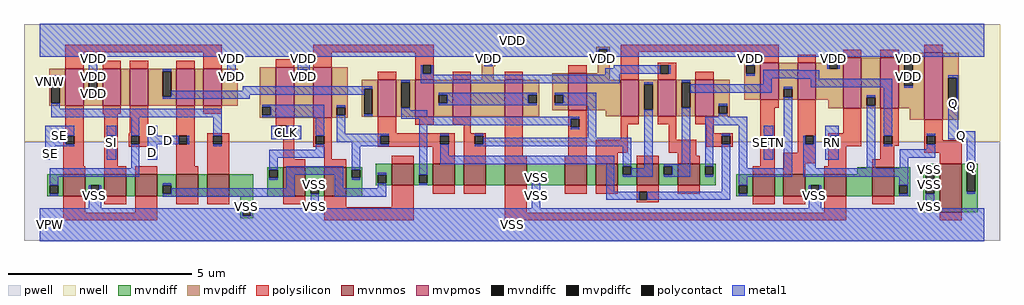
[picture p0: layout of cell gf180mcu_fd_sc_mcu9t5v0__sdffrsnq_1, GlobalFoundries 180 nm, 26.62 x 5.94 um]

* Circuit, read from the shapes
.subckt gf180mcu_fd_sc_mcu9t5v0__sdffrsnq_1 D RN SE SETN SI CLK Q VDD VNW VPW VSS
XM1 VSS SE n1 VPW nfet_06v0 w=0.59u l=0.6u
XM2 n2 SI VSS VPW nfet_06v0 w=0.59u l=0.6u
XM3 n3 SE n2 VPW nfet_06v0 w=0.59u l=0.6u
XM4 n4 D n3 VPW nfet_06v0 w=0.59u l=0.6u
XM5 VSS n1 n4 VPW nfet_06v0 w=0.59u l=0.6u
XM6 VSS CLK n5 VPW nfet_06v0 w=0.79u l=0.6u
XM7 n6 n5 VSS VPW nfet_06v0 w=0.79u l=0.6u
XM8 n7 n5 n3 VPW nfet_06v0 w=0.59u l=0.6u
XM9 n8 n6 n7 VPW nfet_06v0 w=0.59u l=0.6u
XM10 n9 n10 n8 VPW nfet_06v0 w=0.59u l=0.6u
XM11 VSS RN n9 VPW nfet_06v0 w=0.59u l=0.6u
XM12 n11 n7 VSS VPW nfet_06v0 w=0.59u l=0.6u
XM13 n10 SETN n11 VPW nfet_06v0 w=0.59u l=0.6u
XM14 n12 n6 n10 VPW nfet_06v0 w=0.59u l=0.6u
XM15 n13 n5 n12 VPW nfet_06v0 w=0.59u l=0.6u
XM16 n14 SETN n13 VPW nfet_06v0 w=0.59u l=0.6u
XM17 VSS n15 n14 VPW nfet_06v0 w=0.59u l=0.6u
XM18 n16 RN VSS VPW nfet_06v0 w=0.59u l=0.6u
XM19 n15 n12 n16 VPW nfet_06v0 w=0.79u l=0.6u
XM20 Q n15 VSS VPW nfet_06v0 w=1.32u l=0.6u
XM21 VDD SE n1 VNW pfet_06v0 w=1u l=0.5u
XM22 n17 SI VDD VNW pfet_06v0 w=1u l=0.5u
XM23 n18 n1 n17 VNW pfet_06v0 w=1u l=0.5u
XM24 n19 D n18 VNW pfet_06v0 w=1u l=0.5u
XM25 VDD SE n19 VNW pfet_06v0 w=1u l=0.5u
XM26 VDD CLK n5 VNW pfet_06v0 w=1.38u l=0.5u
XM27 n6 n5 VDD VNW pfet_06v0 w=1.38u l=0.5u
XM28 n7 n6 n18 VNW pfet_06v0 w=1u l=0.5u
XM29 n20 n5 n7 VNW pfet_06v0 w=1u l=0.5u
XM30 VDD n10 n20 VNW pfet_06v0 w=1u l=0.5u
XM31 n20 RN VDD VNW pfet_06v0 w=1u l=0.5u
XM32 VDD n7 n10 VNW pfet_06v0 w=1u l=0.5u
XM33 n10 SETN VDD VNW pfet_06v0 w=1u l=0.5u
XM34 n12 n5 n10 VNW pfet_06v0 w=1u l=0.5u
XM35 n13 n6 n12 VNW pfet_06v0 w=1u l=0.5u
XM36 n13 SETN VDD VNW pfet_06v0 w=1u l=0.5u
XM37 VDD n15 n13 VNW pfet_06v0 w=1u l=0.5u
XM38 n15 RN VDD VNW pfet_06v0 w=1.38u l=0.5u
XM39 VDD n12 n15 VNW pfet_06v0 w=1.38u l=0.5u
XM40 Q n15 VDD VNW pfet_06v0 w=1.83u l=0.5u
.ends

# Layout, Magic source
magic
tech gf180mcuD
magscale 1 10
<< nwell >>
rect -86 453 5238 1094
<< pwell >>
rect -86 -86 5238 453
<< mvnmos >>
rect 129 157 249 275
rect 353 157 473 275
rect 521 157 641 275
rect 745 157 865 275
rect 913 157 1033 275
rect 1328 157 1448 315
rect 1552 157 1672 315
rect 1920 215 2040 333
rect 2144 215 2264 333
rect 2312 215 2432 333
rect 2536 215 2656 333
rect 2864 215 2984 333
rect 3032 215 3152 333
rect 3256 215 3376 333
rect 3480 215 3600 333
rect 3888 157 4008 275
rect 4056 157 4176 275
rect 4280 157 4400 275
rect 4540 157 4660 315
rect 4908 69 5028 333
<< mvpmos >>
rect 139 651 239 851
rect 343 651 443 851
rect 491 651 591 851
rect 745 651 845 851
rect 893 651 993 851
rect 1288 584 1388 860
rect 1492 584 1592 860
rect 1844 591 1944 791
rect 2048 591 2148 791
rect 2252 591 2352 791
rect 2536 591 2636 791
rect 2884 626 2984 826
rect 3168 592 3268 792
rect 3372 592 3472 792
rect 3576 592 3676 792
rect 3930 684 4030 884
rect 4134 684 4234 884
rect 4382 636 4482 912
rect 4586 636 4686 912
rect 4826 573 4926 939
<< mvndiff >>
rect 1240 302 1328 315
rect 41 216 129 275
rect 41 170 54 216
rect 100 170 129 216
rect 41 157 129 170
rect 249 216 353 275
rect 249 170 278 216
rect 324 170 353 216
rect 249 157 353 170
rect 473 157 521 275
rect 641 216 745 275
rect 641 170 670 216
rect 716 170 745 216
rect 641 157 745 170
rect 865 157 913 275
rect 1033 157 1165 275
rect 1240 256 1253 302
rect 1299 256 1328 302
rect 1240 157 1328 256
rect 1448 216 1552 315
rect 1448 170 1477 216
rect 1523 170 1552 216
rect 1448 157 1552 170
rect 1672 302 1760 315
rect 1672 256 1701 302
rect 1747 256 1760 302
rect 1672 157 1760 256
rect 1832 274 1920 333
rect 1832 228 1845 274
rect 1891 228 1920 274
rect 1832 215 1920 228
rect 2040 274 2144 333
rect 2040 228 2069 274
rect 2115 228 2144 274
rect 2040 215 2144 228
rect 2264 215 2312 333
rect 2432 215 2536 333
rect 2656 274 2864 333
rect 2656 228 2685 274
rect 2731 228 2864 274
rect 2656 215 2864 228
rect 2984 215 3032 333
rect 3152 320 3256 333
rect 3152 274 3181 320
rect 3227 274 3256 320
rect 3152 215 3256 274
rect 3376 320 3480 333
rect 3376 274 3405 320
rect 3451 274 3480 320
rect 3376 215 3480 274
rect 3600 320 3688 333
rect 3600 274 3629 320
rect 3675 274 3688 320
rect 4460 275 4540 315
rect 3600 215 3688 274
rect 3800 216 3888 275
rect 1093 96 1165 157
rect 1093 50 1106 96
rect 1152 50 1165 96
rect 1093 37 1165 50
rect 3800 170 3813 216
rect 3859 170 3888 216
rect 3800 157 3888 170
rect 4008 157 4056 275
rect 4176 216 4280 275
rect 4176 170 4205 216
rect 4251 170 4280 216
rect 4176 157 4280 170
rect 4400 157 4540 275
rect 4660 216 4748 315
rect 4660 170 4689 216
rect 4735 170 4748 216
rect 4660 157 4748 170
rect 4820 309 4908 333
rect 4820 169 4833 309
rect 4879 169 4908 309
rect 4820 69 4908 169
rect 5028 320 5116 333
rect 5028 180 5057 320
rect 5103 180 5116 320
rect 5028 69 5116 180
<< mvpdiff >>
rect 3036 958 3108 971
rect 51 804 139 851
rect 51 664 64 804
rect 110 664 139 804
rect 51 651 139 664
rect 239 838 343 851
rect 239 698 268 838
rect 314 698 343 838
rect 239 651 343 698
rect 443 651 491 851
rect 591 838 745 851
rect 591 698 670 838
rect 716 698 745 838
rect 591 651 745 698
rect 845 651 893 851
rect 993 838 1081 851
rect 993 792 1022 838
rect 1068 792 1081 838
rect 993 651 1081 792
rect 1200 645 1288 860
rect 1200 599 1213 645
rect 1259 599 1288 645
rect 1200 584 1288 599
rect 1388 847 1492 860
rect 1388 801 1417 847
rect 1463 801 1492 847
rect 1388 584 1492 801
rect 1592 643 1680 860
rect 2412 923 2484 936
rect 2412 877 2425 923
rect 2471 877 2484 923
rect 3036 912 3049 958
rect 3095 912 3108 958
rect 3036 900 3108 912
rect 2412 865 2484 877
rect 2412 791 2476 865
rect 3044 826 3108 900
rect 1592 597 1621 643
rect 1667 597 1680 643
rect 1592 584 1680 597
rect 1756 744 1844 791
rect 1756 604 1769 744
rect 1815 604 1844 744
rect 1756 591 1844 604
rect 1944 778 2048 791
rect 1944 638 1973 778
rect 2019 638 2048 778
rect 1944 591 2048 638
rect 2148 710 2252 791
rect 2148 664 2177 710
rect 2223 664 2252 710
rect 2148 591 2252 664
rect 2352 591 2536 791
rect 2636 710 2724 791
rect 2636 664 2665 710
rect 2711 664 2724 710
rect 2636 591 2724 664
rect 2796 710 2884 826
rect 2796 664 2809 710
rect 2855 664 2884 710
rect 2796 626 2884 664
rect 2984 792 3108 826
rect 4746 912 4826 939
rect 4294 899 4382 912
rect 4294 884 4307 899
rect 3842 871 3930 884
rect 3842 825 3855 871
rect 3901 825 3930 871
rect 2984 626 3168 792
rect 3088 592 3168 626
rect 3268 768 3372 792
rect 3268 628 3297 768
rect 3343 628 3372 768
rect 3268 592 3372 628
rect 3472 779 3576 792
rect 3472 639 3501 779
rect 3547 639 3576 779
rect 3472 592 3576 639
rect 3676 651 3764 792
rect 3842 684 3930 825
rect 4030 743 4134 884
rect 4030 697 4059 743
rect 4105 697 4134 743
rect 4030 684 4134 697
rect 4234 853 4307 884
rect 4353 853 4382 899
rect 4234 684 4382 853
rect 3676 605 3705 651
rect 3751 605 3764 651
rect 3676 592 3764 605
rect 4302 636 4382 684
rect 4482 695 4586 912
rect 4482 649 4511 695
rect 4557 649 4586 695
rect 4482 636 4586 649
rect 4686 899 4826 912
rect 4686 759 4715 899
rect 4761 759 4826 899
rect 4686 636 4826 759
rect 4746 573 4826 636
rect 4926 804 5014 939
rect 4926 664 4955 804
rect 5001 664 5014 804
rect 4926 573 5014 664
<< mvndiffc >>
rect 54 170 100 216
rect 278 170 324 216
rect 670 170 716 216
rect 1253 256 1299 302
rect 1477 170 1523 216
rect 1701 256 1747 302
rect 1845 228 1891 274
rect 2069 228 2115 274
rect 2685 228 2731 274
rect 3181 274 3227 320
rect 3405 274 3451 320
rect 3629 274 3675 320
rect 1106 50 1152 96
rect 3813 170 3859 216
rect 4205 170 4251 216
rect 4689 170 4735 216
rect 4833 169 4879 309
rect 5057 180 5103 320
<< mvpdiffc >>
rect 64 664 110 804
rect 268 698 314 838
rect 670 698 716 838
rect 1022 792 1068 838
rect 1213 599 1259 645
rect 1417 801 1463 847
rect 2425 877 2471 923
rect 3049 912 3095 958
rect 1621 597 1667 643
rect 1769 604 1815 744
rect 1973 638 2019 778
rect 2177 664 2223 710
rect 2665 664 2711 710
rect 2809 664 2855 710
rect 3855 825 3901 871
rect 3297 628 3343 768
rect 3501 639 3547 779
rect 4059 697 4105 743
rect 4307 853 4353 899
rect 3705 605 3751 651
rect 4511 649 4557 695
rect 4715 759 4761 899
rect 4955 664 5001 804
<< polysilicon >>
rect 139 943 993 983
rect 139 851 239 943
rect 343 851 443 895
rect 491 851 591 895
rect 745 851 845 895
rect 893 851 993 943
rect 1492 943 2148 983
rect 1288 860 1388 904
rect 1492 860 1592 943
rect 2048 870 2148 943
rect 139 499 239 651
rect 343 607 443 651
rect 129 486 239 499
rect 129 440 142 486
rect 188 440 239 486
rect 129 319 239 440
rect 353 486 425 607
rect 491 499 591 651
rect 353 440 366 486
rect 412 440 425 486
rect 353 319 425 440
rect 485 486 591 499
rect 485 440 498 486
rect 544 440 591 486
rect 485 427 591 440
rect 745 486 845 651
rect 893 607 993 651
rect 1844 791 1944 835
rect 2048 824 2089 870
rect 2135 824 2148 870
rect 2048 791 2148 824
rect 2252 791 2352 835
rect 2536 791 2636 835
rect 2884 826 2984 870
rect 3168 944 4030 984
rect 3168 792 3268 944
rect 3930 884 4030 944
rect 4134 884 4234 928
rect 4382 912 4482 956
rect 4586 912 4686 956
rect 4826 939 4926 983
rect 3372 871 3472 884
rect 3372 825 3385 871
rect 3431 825 3472 871
rect 3372 792 3472 825
rect 3576 792 3676 836
rect 1288 542 1388 584
rect 745 440 758 486
rect 804 440 845 486
rect 745 319 845 440
rect 913 486 1033 499
rect 913 440 946 486
rect 992 440 1033 486
rect 1288 496 1301 542
rect 1347 496 1388 542
rect 1288 483 1388 496
rect 129 275 249 319
rect 353 275 473 319
rect 521 275 641 319
rect 745 275 865 319
rect 913 275 1033 440
rect 1328 359 1388 483
rect 1492 486 1592 584
rect 1492 440 1505 486
rect 1551 440 1592 486
rect 1492 427 1592 440
rect 1844 499 1944 591
rect 2048 547 2148 591
rect 2252 547 2352 591
rect 2312 499 2352 547
rect 1844 486 2264 499
rect 1844 440 1857 486
rect 1903 440 2185 486
rect 2231 440 2264 486
rect 1844 427 2264 440
rect 1552 359 1592 427
rect 1328 315 1448 359
rect 1552 315 1672 359
rect 1920 333 2040 377
rect 2144 333 2264 427
rect 2312 486 2432 499
rect 2312 440 2373 486
rect 2419 440 2432 486
rect 2312 333 2432 440
rect 2536 377 2636 591
rect 2884 578 2984 626
rect 3930 640 4030 684
rect 2884 532 2897 578
rect 2943 532 2984 578
rect 2884 377 2984 532
rect 3168 548 3268 592
rect 3372 548 3472 592
rect 3576 548 3676 592
rect 3168 465 3208 548
rect 2536 333 2656 377
rect 2864 333 2984 377
rect 3032 393 3208 465
rect 3432 465 3472 548
rect 3636 499 3676 548
rect 3636 486 3780 499
rect 3432 393 3580 465
rect 3636 440 3721 486
rect 3767 440 3780 486
rect 3636 427 3780 440
rect 3930 486 4008 640
rect 3930 440 3949 486
rect 3995 440 4008 486
rect 3032 333 3152 393
rect 3480 377 3580 393
rect 3256 333 3376 377
rect 3480 333 3600 377
rect 3930 319 4008 440
rect 4134 486 4234 684
rect 4382 499 4482 636
rect 4134 440 4175 486
rect 4221 440 4234 486
rect 4134 394 4234 440
rect 3888 275 4008 319
rect 4056 335 4234 394
rect 4300 486 4482 499
rect 4300 440 4313 486
rect 4359 440 4482 486
rect 4300 429 4482 440
rect 4586 486 4686 636
rect 4586 440 4603 486
rect 4649 440 4686 486
rect 4586 433 4686 440
rect 4826 486 4926 573
rect 4826 440 4839 486
rect 4885 463 4926 486
rect 4885 440 5028 463
rect 4056 275 4176 335
rect 4300 319 4400 429
rect 4586 359 4660 433
rect 4826 393 5028 440
rect 4280 275 4400 319
rect 4540 315 4660 359
rect 4908 333 5028 393
rect 129 65 249 157
rect 353 113 473 157
rect 521 65 641 157
rect 745 113 865 157
rect 913 113 1033 157
rect 129 25 641 65
rect 1328 113 1448 157
rect 1552 97 1672 157
rect 1920 97 2040 215
rect 2144 171 2264 215
rect 2312 171 2432 215
rect 1552 25 2040 97
rect 2536 65 2656 215
rect 2864 171 2984 215
rect 3032 171 3152 215
rect 3256 182 3376 215
rect 3256 136 3269 182
rect 3315 136 3376 182
rect 3480 171 3600 215
rect 3256 123 3376 136
rect 3888 113 4008 157
rect 4056 113 4176 157
rect 4280 65 4400 157
rect 4540 113 4660 157
rect 2536 25 4400 65
rect 4908 25 5028 69
<< polycontact >>
rect 142 440 188 486
rect 366 440 412 486
rect 498 440 544 486
rect 2089 824 2135 870
rect 3385 825 3431 871
rect 758 440 804 486
rect 946 440 992 486
rect 1301 496 1347 542
rect 1505 440 1551 486
rect 1857 440 1903 486
rect 2185 440 2231 486
rect 2373 440 2419 486
rect 2897 532 2943 578
rect 3721 440 3767 486
rect 3949 440 3995 486
rect 4175 440 4221 486
rect 4313 440 4359 486
rect 4603 440 4649 486
rect 4839 440 4885 486
rect 3269 136 3315 182
<< metal1 >>
rect 0 958 5152 1098
rect 0 923 3049 958
rect 0 918 2425 923
rect 268 838 314 918
rect 64 804 110 815
rect 268 687 314 698
rect 670 838 716 849
rect 1022 838 1068 918
rect 1406 847 1474 918
rect 2471 918 3049 923
rect 3095 918 5152 958
rect 3049 901 3095 912
rect 1406 801 1417 847
rect 1463 801 1474 847
rect 2078 824 2089 870
rect 2135 824 2146 870
rect 2425 866 2471 877
rect 3855 871 3901 918
rect 3130 855 3385 871
rect 2078 820 2146 824
rect 3084 825 3385 855
rect 3431 825 3442 871
rect 4296 899 4364 918
rect 4296 853 4307 899
rect 4353 853 4364 899
rect 4715 899 4761 918
rect 3084 820 3165 825
rect 1022 781 1068 792
rect 1973 778 2019 789
rect 1106 744 1815 755
rect 1106 733 1769 744
rect 716 709 1769 733
rect 716 698 1146 709
rect 670 687 1146 698
rect 64 634 110 664
rect 1213 645 1551 656
rect 64 588 992 634
rect 1259 599 1551 645
rect 1213 588 1551 599
rect 30 486 188 542
rect 30 440 142 486
rect 30 429 188 440
rect 366 486 418 542
rect 412 440 418 486
rect 30 354 82 429
rect 366 354 418 440
rect 498 486 544 588
rect 498 308 544 440
rect 590 486 642 542
rect 946 486 992 588
rect 590 440 758 486
rect 804 440 815 486
rect 1262 496 1301 542
rect 1347 496 1426 542
rect 1262 466 1426 496
rect 1505 486 1551 588
rect 590 354 642 440
rect 946 429 992 440
rect 1621 643 1667 654
rect 1621 497 1667 597
rect 1769 593 1815 604
rect 2078 774 3165 820
rect 3855 814 3901 825
rect 3947 843 4139 846
rect 3947 800 4251 843
rect 3501 779 3547 790
rect 3297 768 3343 779
rect 2177 710 2711 721
rect 2223 664 2665 710
rect 2177 653 2711 664
rect 2809 710 3035 721
rect 2855 664 3035 710
rect 2809 653 3035 664
rect 1973 625 2019 638
rect 1973 589 2114 625
rect 1973 579 2943 589
rect 2069 578 2943 579
rect 2069 543 2897 578
rect 1621 486 1903 497
rect 1621 451 1857 486
rect 1505 411 1551 440
rect 1253 365 1551 411
rect 1701 440 1857 451
rect 1701 429 1903 440
rect 54 262 544 308
rect 1253 302 1299 365
rect 54 216 100 262
rect 1253 245 1299 256
rect 1345 273 1655 319
rect 670 216 716 227
rect 54 159 100 170
rect 267 170 278 216
rect 324 170 335 216
rect 267 90 335 170
rect 1345 199 1391 273
rect 716 170 1391 199
rect 670 153 1391 170
rect 1477 216 1523 227
rect 1106 96 1152 107
rect 0 50 1106 90
rect 1477 90 1523 170
rect 1609 199 1655 273
rect 1701 302 1747 429
rect 1701 245 1747 256
rect 1845 274 1891 285
rect 1845 199 1891 228
rect 2069 274 2115 543
rect 2897 521 2943 532
rect 2185 486 2231 497
rect 2185 377 2231 440
rect 2373 486 2419 497
rect 2989 475 3035 653
rect 2419 440 3227 475
rect 2373 429 3227 440
rect 2185 331 3135 377
rect 2069 217 2115 228
rect 2685 274 2731 285
rect 1609 153 1891 199
rect 2685 90 2731 228
rect 3089 182 3135 331
rect 3181 320 3227 429
rect 3297 309 3343 628
rect 3947 768 3993 800
rect 4122 798 4251 800
rect 4122 797 4649 798
rect 3547 722 3993 768
rect 4059 743 4105 754
rect 4205 752 4649 797
rect 3501 331 3547 639
rect 3705 651 3751 662
rect 3705 589 3751 605
rect 3227 274 3343 309
rect 3181 263 3343 274
rect 3405 320 3547 331
rect 3451 274 3547 320
rect 3405 263 3547 274
rect 3629 543 3859 589
rect 3629 320 3675 543
rect 3629 263 3675 274
rect 3721 486 3767 497
rect 3721 182 3767 440
rect 3089 136 3269 182
rect 3315 136 3767 182
rect 3813 308 3859 543
rect 3949 486 4002 542
rect 3995 440 4002 486
rect 3949 354 4002 440
rect 4059 308 4105 697
rect 4511 695 4557 706
rect 4286 486 4359 542
rect 3813 262 4105 308
rect 4164 440 4175 486
rect 4221 440 4232 486
rect 4164 308 4232 440
rect 4286 440 4313 486
rect 4286 354 4359 440
rect 4511 308 4557 649
rect 4603 486 4649 752
rect 4715 748 4761 759
rect 4955 804 5010 815
rect 5001 664 5010 804
rect 4955 512 5010 664
rect 4603 429 4649 440
rect 4839 486 4885 497
rect 4955 466 5103 512
rect 4839 412 4885 440
rect 4692 366 4885 412
rect 4692 308 4738 366
rect 5057 320 5103 466
rect 4164 262 4738 308
rect 3813 216 3859 262
rect 4689 216 4738 262
rect 3813 159 3859 170
rect 4194 170 4205 216
rect 4251 170 4262 216
rect 4194 90 4262 170
rect 4735 170 4738 216
rect 4689 159 4738 170
rect 4833 309 4879 320
rect 5057 169 5103 180
rect 4833 90 4879 169
rect 1152 50 5152 90
rect 0 -90 5152 50
<< labels >>
flabel metal1 s 1262 466 1426 542 0 FreeSans 200 0 0 0 CLK
port 6 nsew clock input
flabel metal1 s 590 486 642 542 0 FreeSans 200 0 0 0 D
port 1 nsew default input
flabel metal1 s 4955 512 5010 815 0 FreeSans 200 0 0 0 Q
port 7 nsew default output
flabel metal1 s 4286 354 4359 542 0 FreeSans 200 0 0 0 RN
port 2 nsew default input
flabel metal1 s 30 429 188 542 0 FreeSans 200 0 0 0 SE
port 3 nsew default input
flabel metal1 s 3949 354 4002 542 0 FreeSans 200 0 0 0 SETN
port 4 nsew default input
flabel metal1 s 366 354 418 542 0 FreeSans 200 0 0 0 SI
port 5 nsew default input
flabel metal1 s 0 918 5152 1098 0 FreeSans 200 0 0 0 VDD
port 8 nsew power bidirectional abutment
flabel metal1 s 4833 285 4879 320 0 FreeSans 200 0 0 0 VSS
port 11 nsew ground bidirectional abutment
flabel nwell s 10 734 110 834 0 FreeSans 400 0 0 0 VNW
port 9 nsew power bidirectional
flabel pwell s 10 -50 110 50 0 FreeSans 400 0 0 0 VPW
port 10 nsew ground bidirectional
rlabel metal1 s 590 440 815 486 1 D
port 1 nsew default input
rlabel metal1 s 590 354 642 440 1 D
port 1 nsew default input
rlabel metal1 s 30 354 82 429 1 SE
port 3 nsew default input
rlabel metal1 s 4955 466 5103 512 1 Q
port 7 nsew default output
rlabel metal1 s 5057 169 5103 466 1 Q
port 7 nsew default output
rlabel metal1 s 4715 901 4761 918 1 VDD
port 8 nsew power bidirectional abutment
rlabel metal1 s 4296 901 4364 918 1 VDD
port 8 nsew power bidirectional abutment
rlabel metal1 s 3855 901 3901 918 1 VDD
port 8 nsew power bidirectional abutment
rlabel metal1 s 3049 901 3095 918 1 VDD
port 8 nsew power bidirectional abutment
rlabel metal1 s 2425 901 2471 918 1 VDD
port 8 nsew power bidirectional abutment
rlabel metal1 s 1406 901 1474 918 1 VDD
port 8 nsew power bidirectional abutment
rlabel metal1 s 1022 901 1068 918 1 VDD
port 8 nsew power bidirectional abutment
rlabel metal1 s 268 901 314 918 1 VDD
port 8 nsew power bidirectional abutment
rlabel metal1 s 4715 866 4761 901 1 VDD
port 8 nsew power bidirectional abutment
rlabel metal1 s 4296 866 4364 901 1 VDD
port 8 nsew power bidirectional abutment
rlabel metal1 s 3855 866 3901 901 1 VDD
port 8 nsew power bidirectional abutment
rlabel metal1 s 2425 866 2471 901 1 VDD
port 8 nsew power bidirectional abutment
rlabel metal1 s 1406 866 1474 901 1 VDD
port 8 nsew power bidirectional abutment
rlabel metal1 s 1022 866 1068 901 1 VDD
port 8 nsew power bidirectional abutment
rlabel metal1 s 268 866 314 901 1 VDD
port 8 nsew power bidirectional abutment
rlabel metal1 s 4715 853 4761 866 1 VDD
port 8 nsew power bidirectional abutment
rlabel metal1 s 4296 853 4364 866 1 VDD
port 8 nsew power bidirectional abutment
rlabel metal1 s 3855 853 3901 866 1 VDD
port 8 nsew power bidirectional abutment
rlabel metal1 s 1406 853 1474 866 1 VDD
port 8 nsew power bidirectional abutment
rlabel metal1 s 1022 853 1068 866 1 VDD
port 8 nsew power bidirectional abutment
rlabel metal1 s 268 853 314 866 1 VDD
port 8 nsew power bidirectional abutment
rlabel metal1 s 4715 814 4761 853 1 VDD
port 8 nsew power bidirectional abutment
rlabel metal1 s 3855 814 3901 853 1 VDD
port 8 nsew power bidirectional abutment
rlabel metal1 s 1406 814 1474 853 1 VDD
port 8 nsew power bidirectional abutment
rlabel metal1 s 1022 814 1068 853 1 VDD
port 8 nsew power bidirectional abutment
rlabel metal1 s 268 814 314 853 1 VDD
port 8 nsew power bidirectional abutment
rlabel metal1 s 4715 801 4761 814 1 VDD
port 8 nsew power bidirectional abutment
rlabel metal1 s 1406 801 1474 814 1 VDD
port 8 nsew power bidirectional abutment
rlabel metal1 s 1022 801 1068 814 1 VDD
port 8 nsew power bidirectional abutment
rlabel metal1 s 268 801 314 814 1 VDD
port 8 nsew power bidirectional abutment
rlabel metal1 s 4715 781 4761 801 1 VDD
port 8 nsew power bidirectional abutment
rlabel metal1 s 1022 781 1068 801 1 VDD
port 8 nsew power bidirectional abutment
rlabel metal1 s 268 781 314 801 1 VDD
port 8 nsew power bidirectional abutment
rlabel metal1 s 4715 748 4761 781 1 VDD
port 8 nsew power bidirectional abutment
rlabel metal1 s 268 748 314 781 1 VDD
port 8 nsew power bidirectional abutment
rlabel metal1 s 268 687 314 748 1 VDD
port 8 nsew power bidirectional abutment
rlabel metal1 s 4833 227 4879 285 1 VSS
port 11 nsew ground bidirectional abutment
rlabel metal1 s 2685 227 2731 285 1 VSS
port 11 nsew ground bidirectional abutment
rlabel metal1 s 4833 216 4879 227 1 VSS
port 11 nsew ground bidirectional abutment
rlabel metal1 s 2685 216 2731 227 1 VSS
port 11 nsew ground bidirectional abutment
rlabel metal1 s 1477 216 1523 227 1 VSS
port 11 nsew ground bidirectional abutment
rlabel metal1 s 4833 107 4879 216 1 VSS
port 11 nsew ground bidirectional abutment
rlabel metal1 s 4194 107 4262 216 1 VSS
port 11 nsew ground bidirectional abutment
rlabel metal1 s 2685 107 2731 216 1 VSS
port 11 nsew ground bidirectional abutment
rlabel metal1 s 1477 107 1523 216 1 VSS
port 11 nsew ground bidirectional abutment
rlabel metal1 s 267 107 335 216 1 VSS
port 11 nsew ground bidirectional abutment
rlabel metal1 s 4833 90 4879 107 1 VSS
port 11 nsew ground bidirectional abutment
rlabel metal1 s 4194 90 4262 107 1 VSS
port 11 nsew ground bidirectional abutment
rlabel metal1 s 2685 90 2731 107 1 VSS
port 11 nsew ground bidirectional abutment
rlabel metal1 s 1477 90 1523 107 1 VSS
port 11 nsew ground bidirectional abutment
rlabel metal1 s 1106 90 1152 107 1 VSS
port 11 nsew ground bidirectional abutment
rlabel metal1 s 267 90 335 107 1 VSS
port 11 nsew ground bidirectional abutment
rlabel metal1 s 0 -90 5152 90 1 VSS
port 11 nsew ground bidirectional abutment
<< properties >>
string FIXED_BBOX 0 0 5152 1008
string GDS_END 379584
string GDS_FILE $PDKPATH/libs.ref/gf180mcu_fd_sc_mcu9t5v0/gds/gf180mcu_fd_sc_mcu9t5v0.gds
string GDS_START 367728
string LEFclass core
string LEFsite GF018hv5v_green_sc9
string LEFsymmetry X Y
<< end >>
